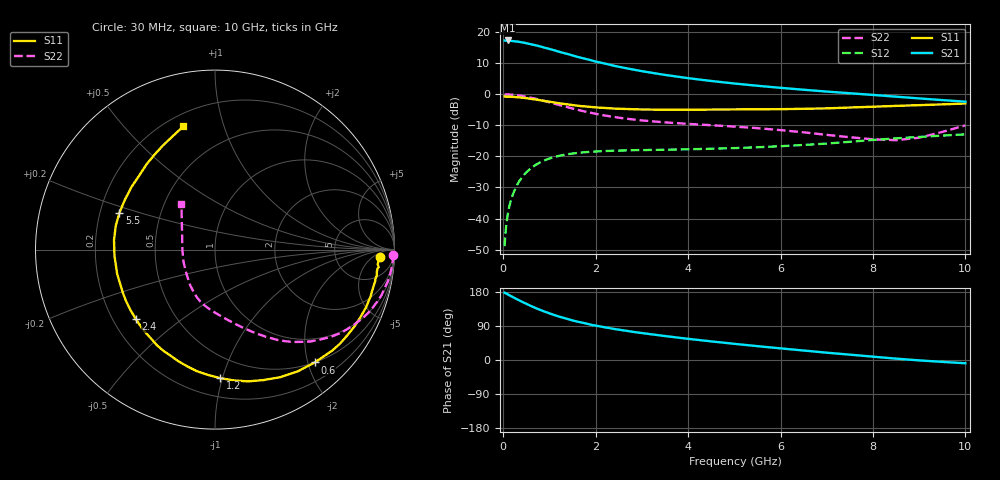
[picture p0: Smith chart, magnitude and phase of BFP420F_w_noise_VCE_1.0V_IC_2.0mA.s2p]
! Infineon Technologies  Discrete & RF Semiconductors
! BFP420F
! VCE =  1.0 V,  IC =  2.0 mA
! Common Emitter S-Parameters:  Sep 2011
# GHz  S  MA  R  50
!  f  S11  S21  S12  S22
! GHz  MAG  ANG  MAG  ANG  MAG  ANG  MAG  ANG
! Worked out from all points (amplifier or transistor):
!   54 points, 30 MHz to 10 GHz, reference 50 ohm
!   highest |S21| = 17.3 dB at 100 MHz (marker M1)
!   |S21| within 3 dB of that: start of sweep to 1.066 GHz
!   unconditionally stable (mu >= 1): 3.191 GHz to end of sweep
!   at 120 MHz: K = 0.03, MSG = 27.1 dB, |S12| = -37.0 dB
!   at 1.3 GHz: K = 0.34, MSG = 16.4 dB, |S12| = -19.6 dB
!   at 10 GHz: K = 1.56, MAG = 0.8 dB, |S12| = -12.9 dB
!   lowest NFmin = 0.81 dB at 450 MHz
!   S11 on the Smith chart (normalised r, x): 30 MHz: 19, -9; 600 MHz: 0.50, -2.12; 1.2 GHz: 0.33, -0.98; 2.4 GHz: 0.29, -0.35; 5.5 GHz: 0.28, +0.17; 10 GHz: 0.27, +0.74
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0.03  0.9185 -2.4  7.274 177.7  0.0036 89.3  0.9939 -1.6
0.05  0.9135 -3.8  7.24 175.9  0.006 90.9  0.9934 -2.6
0.07  0.9175 -6.1  7.291 175.4  0.0082 86.6  0.9923 -3.7
0.1  0.912 -8.7  7.297 173.0  0.0119 85.4  0.9901 -5.2
0.2  0.9051 -16.9  7.143 166.7  0.0235 81.1  0.979 -10.4
0.35  0.8867 -29.1  6.919 157.1  0.0402 74.2  0.9492 -17.8
0.45  0.8716 -37.0  6.717 151.1  0.0505 69.8  0.9238 -22.4
0.6  0.8392 -48.5  6.334 142.5  0.0644 63.3  0.8753 -29.1
0.8  0.7983 -62.9  5.845 132.1  0.0801 55.9  0.808 -37.0
1  0.757 -75.9  5.328 123.2  0.0924 49.5  0.7382 -43.9
1.2  0.7163 -87.8  4.822 114.8  0.1016 43.9  0.6731 -49.9
1.5  0.6677 -103.7  4.191 104.3  0.1111 37.3  0.5879 -57.3
1.7  0.6403 -112.9  3.819 98.8  0.1153 33.8  0.5397 -61.8
2  0.6119 -125.1  3.337 90.7  0.1198 29.6  0.4831 -67.8
2.4  0.5867 -138.6  2.857 81.9  0.1234 25.7  0.4293 -74.8
2.8  0.5729 -149.7  2.495 74.5  0.1256 23.1  0.3927 -80.8
3.5  0.5617 -166.1  2.038 63.2  0.1279 20.9  0.3518 -89.8
4.5  0.5651 174.7  1.629 49.1  0.1326 20.2  0.3166 -100.5
5.5  0.5707 158.8  1.364 36.5  0.1401 21.1  0.284 -110.9
7  0.5909 135.4  1.1 19.3  0.1606 22.6  0.2216 -132.6
8.5  0.6477 116.8  0.911 3.6  0.1947 20.1  0.182 179.4
10  0.7083 104.4  0.756 -8.6  0.226 14.7  0.3149 126.4
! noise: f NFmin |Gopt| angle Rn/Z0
0.45  0.81  0.49  17  0.26
0.9  0.87  0.48  36  0.26
1.9  1.18  0.37  84  0.2
2.4  1.31  0.38  97  0.2
3.5  1.73  0.39  136  0.18
